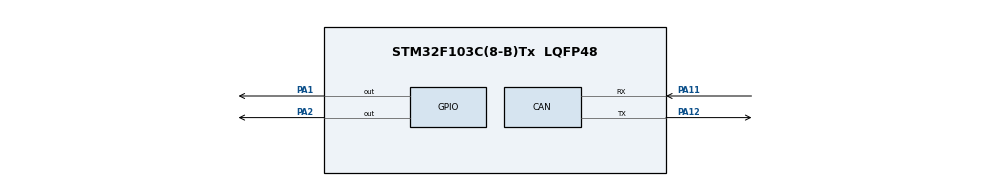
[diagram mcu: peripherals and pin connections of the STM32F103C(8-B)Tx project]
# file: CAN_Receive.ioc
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CAN.BS1=CAN_BS1_2TQ
CAN.CalculateTimeBit=8000
CAN.CalculateTimeQuantum=2000.0
Mcu.Family=STM32F1
Mcu.Name=STM32F103C(8-B)Tx
Mcu.Package=LQFP48
NVIC.CAN1_RX1_IRQn=true\:0\:0\:false\:false\:true\:true\:true
NVIC.PriorityGroup=NVIC_PRIORITYGROUP_4
NVIC.USB_LP_CAN1_RX0_IRQn=true\:0\:0\:false\:false\:true\:true\:true
PA1.Signal=GPIO_Output
PA11.Mode=Master
PA11.Signal=CAN_RX
PA12.Mode=Master
PA12.Signal=CAN_TX
PA13.Mode=Serial_Wire
PA13.Signal=SYS_JTMS-SWDIO
PA14.Mode=Serial_Wire
PA14.Signal=SYS_JTCK-SWCLK
PA2.Signal=GPIO_Output
ProjectManager.HeapSize=0x200
ProjectManager.StackSize=0x400
ProjectManager.TargetToolchain=STM32CubeIDE
RCC.APB1Freq_Value=8000000
RCC.APB2Freq_Value=8000000
board=custom

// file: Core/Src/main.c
/* USER CODE BEGIN Header */
/**
 ******************************************************************************
 * @file           : main.c
 * @brief          : Main program body
 ******************************************************************************
 * @attention
 *
 * <h2><center>&copy; Copyright (c) 2023 STMicroelectronics.
 * All rights reserved.</center></h2>
 *
 * This software component is licensed by ST under BSD 3-Clause license,
 * the "License"; You may not use this file except in compliance with the
 * License. You may obtain a copy of the License at:
 *                        opensource.org/licenses/BSD-3-Clause
 *
 ******************************************************************************
 */
/* USER CODE END Header */
#include "main.h"

/* USER CODE BEGIN Includes */
#include "../Inc/FPEC_interface.h"
/* USER CODE END Includes */

/* USER CODE BEGIN PD */
#define SCB_VTOR   *((volatile uint32_t*)0xE000ED08)
/* USER CODE END PD */

CAN_HandleTypeDef hcan;

void SystemClock_Config(void);
static void MX_GPIO_Init(void);
static void MX_CAN_Init(void);
void USER_SysTickInit(void);
void USER_SysTickDeinit(void);
void USER_SysTickCallBack(void);
void USER_clearRxBuffer(void);
void Parser_voidParseRecord(uint8_t*RxData);
/* USER CODE BEGIN 0 */

CAN_TxHeaderTypeDef TxHeader;
CAN_RxHeaderTypeDef RxHeader;

/* this variable is externed in stm32f1xx_it.c to be used in SysTick_Handler */
uint32_t USER_definedTicks = 3000;
uint8_t timeOutFlag = 0;
uint8_t timerOn = 0;
uint8_t TxData = 3;
uint8_t RxData[100] = {0};
uint8_t g_i = 0;
uint16_t flag = 0;
uint32_t TxMailbox;
typedef void(* fun_ptr)(void);
fun_ptr addr_to_call = 0;

void HAL_CAN_RxFifo0MsgPendingCallback(CAN_HandleTypeDef *hcan)
{
	flag = 1;
	HAL_GPIO_TogglePin(GPIOA, GPIO_PIN_1);
	HAL_CAN_GetRxMessage(hcan, CAN_RX_FIFO0, &RxHeader, &RxData[g_i]);
	g_i++;

}

int main(void)
{
	/* USER CODE BEGIN 1 */
	uint8_t firstRecordReceived = 1;
	/* USER CODE END 1 */

	/* MCU Configuration--------------------------------------------------------*/

	/* Reset of all peripherals, Initializes the Flash interface and the Systick. */
	HAL_Init();

	/* USER CODE BEGIN Init */
	RxHeader.DLC = 1;
	RxHeader.IDE = CAN_ID_STD;
	RxHeader.RTR = CAN_RTR_DATA;
	RxHeader.StdId = 0x103;

	TxHeader.DLC = 1;
	TxHeader.IDE = CAN_ID_STD;
	TxHeader.RTR = CAN_RTR_DATA;
	TxHeader.StdId = 0x030;
	/* USER CODE END Init */

	/* Configure the system clock */

	/* Initialize all configured peripherals */
	MX_GPIO_Init();
	MX_CAN_Init();
	/* USER CODE BEGIN 2 */

	HAL_CAN_Start(&hcan);

	HAL_CAN_ActivateNotification(&hcan, CAN_IT_RX_FIFO0_MSG_PENDING);

	SystemCoreClockUpdate();
	SysTick_Config(SystemCoreClock/100);
	USER_SysTickInit();
	timerOn = 1;

	/* USER CODE END 2 */

	/* Infinite loop */
	while (1)
	{
		while(timeOutFlag == 0)
		{
			/* USER CODE END WHILE */
			if(flag == 1){
				flag = 0;
				USER_SysTickDeinit();
				if(RxData[g_i-1] == '\n'){
					g_i = 0;
					// flash
					if (firstRecordReceived == 1)
					{
						FPEC_voidEraseAppArea();
						firstRecordReceived = 0;
					}
					Parser_voidParseRecord(RxData);
					USER_clearRxBuffer();
					HAL_CAN_AddTxMessage(&hcan, &TxHeader, &TxData, &TxMailbox);
				} else{
					HAL_CAN_AddTxMessage(&hcan, &TxHeader, &TxData, &TxMailbox);
				}
				USER_SysTickInit();
			} else{

			}
			/* USER CODE BEGIN 3 */
		}
		SCB_VTOR = 0x08010000;
		HAL_DeInit();
		addr_to_call = *(fun_ptr*)(0x08010004);
		addr_to_call();
		/* USER CODE BEGIN 3 */
	}
	/* USER CODE END 3 */
}

void SystemClock_Config(void)
{
	RCC_OscInitTypeDef RCC_OscInitStruct = {0};
	RCC_ClkInitTypeDef RCC_ClkInitStruct = {0};

	/** Initializes the RCC Oscillators according to the specified parameters
	 * in the RCC_OscInitTypeDef structure.
	 */
	RCC_OscInitStruct.OscillatorType = RCC_OSCILLATORTYPE_HSI;
	RCC_OscInitStruct.HSIState = RCC_HSI_ON;
	RCC_OscInitStruct.HSICalibrationValue = RCC_HSICALIBRATION_DEFAULT;
	RCC_OscInitStruct.PLL.PLLState = RCC_PLL_NONE;
	if (HAL_RCC_OscConfig(&RCC_OscInitStruct) != HAL_OK)
	{
		Error_Handler();
	}
	/** Initializes the CPU, AHB and APB buses clocks
	 */
	RCC_ClkInitStruct.ClockType = RCC_CLOCKTYPE_HCLK|RCC_CLOCKTYPE_SYSCLK
			|RCC_CLOCKTYPE_PCLK1|RCC_CLOCKTYPE_PCLK2;
	RCC_ClkInitStruct.SYSCLKSource = RCC_SYSCLKSOURCE_HSI;
	RCC_ClkInitStruct.AHBCLKDivider = RCC_SYSCLK_DIV1;
	RCC_ClkInitStruct.APB1CLKDivider = RCC_HCLK_DIV1;
	RCC_ClkInitStruct.APB2CLKDivider = RCC_HCLK_DIV1;

	if (HAL_RCC_ClockConfig(&RCC_ClkInitStruct, FLASH_LATENCY_0) != HAL_OK)
	{
		Error_Handler();
	}
}

static void MX_CAN_Init(void)
{

	hcan.Instance = CAN1;
	hcan.Init.Prescaler = 16;
	hcan.Init.Mode = CAN_MODE_NORMAL;
	hcan.Init.SyncJumpWidth = CAN_SJW_1TQ;
	hcan.Init.TimeSeg1 = CAN_BS1_2TQ;
	hcan.Init.TimeSeg2 = CAN_BS2_1TQ;
	hcan.Init.TimeTriggeredMode = DISABLE;
	hcan.Init.AutoBusOff = DISABLE;
	hcan.Init.AutoWakeUp = DISABLE;
	hcan.Init.AutoRetransmission = DISABLE;
	hcan.Init.ReceiveFifoLocked = DISABLE;
	hcan.Init.TransmitFifoPriority = DISABLE;
	if (HAL_CAN_Init(&hcan) != HAL_OK)
	{
		Error_Handler();
	}
	/* USER CODE BEGIN CAN_Init 2 */
	CAN_FilterTypeDef canfilterconfig;

	canfilterconfig.FilterActivation = CAN_FILTER_ENABLE;
	canfilterconfig.FilterBank = 10;  // anything between 0 to SlaveStartFilterBank
	canfilterconfig.FilterFIFOAssignment = CAN_RX_FIFO0;
	canfilterconfig.FilterIdHigh = 0x0000;
	canfilterconfig.FilterIdLow = 0x0000;
	canfilterconfig.FilterMaskIdHigh = 0x0000;
	canfilterconfig.FilterMaskIdLow = 0x0000;
	canfilterconfig.FilterMode = CAN_FILTERMODE_IDMASK;
	canfilterconfig.FilterScale = CAN_FILTERSCALE_32BIT;
	canfilterconfig.SlaveStartFilterBank = 0;  // 13 to 27 are assigned to slave CAN (CAN 2) OR 0 to 12 are assigned to CAN1

	HAL_CAN_ConfigFilter(&hcan, &canfilterconfig);

	/* USER CODE END CAN_Init 2 */

}

static void MX_GPIO_Init(void)
{
	GPIO_InitTypeDef GPIO_InitStruct = {0};

	/* GPIO Ports Clock Enable */
	__HAL_RCC_GPIOA_CLK_ENABLE();

	/*Configure GPIO pin Output Level */
	HAL_GPIO_WritePin(GPIOA, GPIO_PIN_1|GPIO_PIN_2, GPIO_PIN_RESET);

	/*Configure GPIO pins : PA1 PA2 */
	GPIO_InitStruct.Pin = GPIO_PIN_1|GPIO_PIN_2;
	GPIO_InitStruct.Mode = GPIO_MODE_OUTPUT_PP;
	GPIO_InitStruct.Pull = GPIO_NOPULL;
	GPIO_InitStruct.Speed = GPIO_SPEED_FREQ_LOW;
	HAL_GPIO_Init(GPIOA, &GPIO_InitStruct);

}

/* USER CODE BEGIN 4 */
void USER_SysTickInit(void){
	SysTick->CTRL = 0;
	SysTick->VAL = 0;
	SysTick->CTRL = (SysTick_CTRL_TICKINT_Msk|
			SysTick_CTRL_ENABLE_Msk|
			SysTick_CTRL_CLKSOURCE_Msk);
}

void USER_SysTickDeinit(void){
	SysTick->CTRL = 0;
	SysTick->VAL = 0;
}

void USER_SysTickCallBack(void){
	HAL_GPIO_TogglePin(GPIOA, GPIO_PIN_2);
	timeOutFlag = 1;
}

void USER_clearRxBuffer(void){
	for(uint8_t clear_i = 0; clear_i<100 ; clear_i++){
		RxData[clear_i] = 0;
	}
}

/* USER CODE END 4 */

void Error_Handler(void)
{
	__disable_irq();
	while (1)
	{
	}
}

/************************ (C) COPYRIGHT STMicroelectronics *****END OF FILE****/
